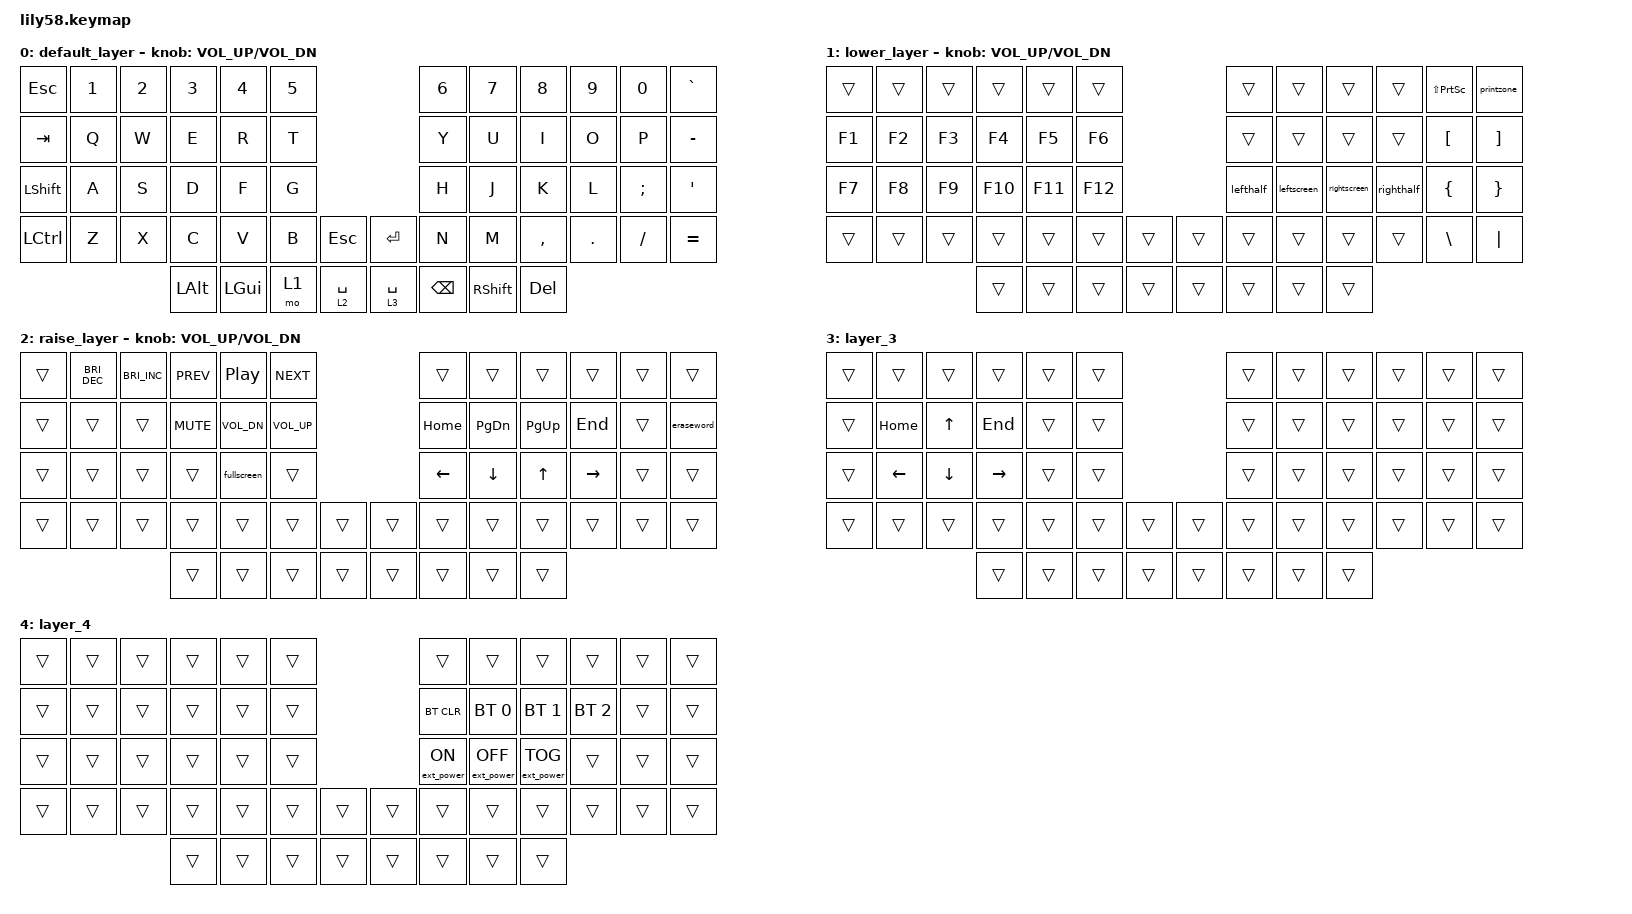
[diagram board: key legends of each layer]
/*
 * Copyright (c) 2020 The ZMK Contributors
 *
 * SPDX-License-Identifier: MIT
 */

#include <behaviors.dtsi>
#include <dt-bindings/zmk/bt.h>
#include <dt-bindings/zmk/ext_power.h>
#include <dt-bindings/zmk/keys.h>

/ {
    combos { compatible = "zmk,combos"; };

    macros {
        fullscreen: fullscreen {
            compatible = "zmk,behavior-macro";
            #binding-cells = <0>;
            bindings =
                <&macro_press>,
                <&kp LGUI &kp LALT>,
                <&macro_tap>,
                <&kp F>,
                <&macro_release>,
                <&kp LGUI &kp LALT>;

            label = "FULLSCREEN";
        };

        lefthalf: lefthalf {
            compatible = "zmk,behavior-macro";
            #binding-cells = <0>;
            bindings =
                <&macro_press>,
                <&kp LGUI &kp LALT>,
                <&macro_tap>,
                <&kp LEFT_ARROW>,
                <&macro_release>,
                <&kp LGUI &kp LALT>;

            label = "LEFTHALF";
        };

        righthalf: righthalf {
            compatible = "zmk,behavior-macro";
            #binding-cells = <0>;
            bindings =
                <&macro_press>,
                <&kp LGUI &kp LALT>,
                <&macro_tap>,
                <&kp RIGHT>,
                <&macro_release>,
                <&kp LGUI &kp LALT>;

            label = "RIGHTHALF";
        };

        leftscreen: leftscreen {
            compatible = "zmk,behavior-macro";
            #binding-cells = <0>;
            bindings =
                <&macro_press>,
                <&kp LGUI &kp LALT &kp LCTRL>,
                <&macro_tap>,
                <&kp LEFT_ARROW>,
                <&macro_release>,
                <&kp LGUI &kp LALT &kp LCTRL>;

            label = "LEFTSCREEN";
        };

        rightscreen: rightscreen {
            compatible = "zmk,behavior-macro";
            #binding-cells = <0>;
            bindings =
                <&macro_press>,
                <&kp LGUI &kp LALT &kp LCTRL>,
                <&macro_tap>,
                <&kp RIGHT>,
                <&macro_release>,
                <&kp LGUI &kp LALT &kp LCTRL>;

            label = "RIGHTSCREEN";
        };

        printzone: printzone {
            compatible = "zmk,behavior-macro";
            #binding-cells = <0>;
            bindings =
                <&macro_press>,
                <&kp LGUI &kp LSHIFT>,
                <&macro_tap>,
                <&kp N4>,
                <&macro_release>,
                <&kp LGUI &kp LSHIFT>;

            label = "PRINTZONE";
        };

        eraseword: eraseword {
            compatible = "zmk,behavior-macro";
            #binding-cells = <0>;
            bindings =
                <&macro_press>,
                <&kp LCTRL>,
                <&macro_tap>,
                <&kp BACKSPACE>,
                <&macro_release>,
                <&kp LCTRL>;
        };

        // à è ù (dead grave = `)

        a_grave: a_grave {
            compatible = "zmk,behavior-macro";
            #binding-cells = <0>;
            bindings = <&kp GRAVE &kp A>;
        };

        e_grave: e_grave {
            compatible = "zmk,behavior-macro";
            #binding-cells = <0>;
            bindings = <&kp GRAVE &kp E>;
        };

        u_grave: u_grave {
            compatible = "zmk,behavior-macro";
            #binding-cells = <0>;
            bindings = <&kp GRAVE &kp U>;
        };

        // é (dead acute = Shift+')

        e_acute: e_acute {
            compatible = "zmk,behavior-macro";
            #binding-cells = <0>;
            bindings = <&kp APOS &kp E>;
        };

        // â ê î ô û (dead circumflex = Shift+6)

        a_circ: a_circ {
            compatible = "zmk,behavior-macro";
            #binding-cells = <0>;
            bindings = <&kp LS(N6) &kp A>;
        };

        e_circ: e_circ {
            compatible = "zmk,behavior-macro";
            #binding-cells = <0>;
            bindings = <&kp LS(N6) &kp E>;
        };

        i_circ: i_circ {
            compatible = "zmk,behavior-macro";
            #binding-cells = <0>;
            bindings = <&kp LS(N6) &kp I>;
        };

        o_circ: o_circ {
            compatible = "zmk,behavior-macro";
            #binding-cells = <0>;
            bindings = <&kp LS(N6) &kp O>;
        };

        u_circ: u_circ {
            compatible = "zmk,behavior-macro";
            #binding-cells = <0>;
            bindings = <&kp LS(N6) &kp U>;
        };

        // ë ï ü ÿ (dead diaeresis = Shift+')  ← attention même dead key que acute sur certains layouts

        e_uml: e_uml {
            compatible = "zmk,behavior-macro";
            #binding-cells = <0>;
            bindings = <&kp LS(APOS) &kp E>;
        };

        i_uml: i_uml {
            compatible = "zmk,behavior-macro";
            #binding-cells = <0>;
            bindings = <&kp LS(APOS) &kp I>;
        };

        u_uml: u_uml {
            compatible = "zmk,behavior-macro";
            #binding-cells = <0>;
            bindings = <&kp LS(APOS) &kp U>;
        };

        // ç (direct en US Intl = Alt+,)

        c_ced: c_ced {
            compatible = "zmk,behavior-macro";
            #binding-cells = <0>;
            bindings = <&kp APOS &kp C>;
        };
    };

    keymap {
        compatible = "zmk,keymap";

        default_layer {
            // ------------------------------------------------------------------------------------------------------------
            // |  ESC  |  1  |  2  |  3   |  4   |  5   |                    |  6   |  7    |  8    |  9   |   0   |   `   |
            // |  TAB  |  Q  |  W  |  E   |  R   |  T   |                    |  Y   |  U    |  I    |  O   |   P   |   -   |
            // | SHIFT |  A  |  S  |  D   |  F   |  G   |                    |  H   |  J    |  K    |  L   |   ;   |   '   |
            // |  CTRL |  Z  |  X  |  C   |  V   |  B   |   "["  |  | ENTER  |  N   |  M    |  ,    |  .   |   /   |   =   |
            //                     | ALT  | GUI  | LOWER|TAB/RAIS|  | SPC/L3 | BSPC | RSHIFT|  DEL  |

            bindings = <
&kp ESC           &kp N1  &kp N2  &kp N3    &kp N4    &kp N5                              &kp N6    &kp N7      &kp N8      &kp N9   &kp N0    &kp GRAVE
&kp TAB           &kp Q   &kp W   &kp E     &kp R     &kp T                               &kp Y     &kp U       &kp I       &kp O    &kp P     &kp MINUS
&kp LEFT_SHIFT    &kp A   &kp S   &kp D     &kp F     &kp G                               &kp H     &kp J       &kp K       &kp L    &kp SEMI  &kp SQT
&kp LEFT_CONTROL  &kp Z   &kp X   &kp C     &kp V     &kp B   &kp ESC        &kp ENTER    &kp N     &kp M       &kp COMMA   &kp DOT  &kp FSLH  &kp EQUAL
                                  &kp LALT  &kp LGUI  &mo 1   &lt 2 SPACE    &lt 3 SPACE  &kp BSPC  &kp RSHIFT  &kp DELETE
            >;

            sensor-bindings = <&inc_dec_kp C_VOL_UP C_VOL_DN>;
        };

        lower_layer {
            // ------------------------------------------------------------------------------------------------------------
            // |       |     |     |      |      |      |                   |      |       |       |      | S+PSCN| PSCRN |
            // |  F1   |  F2 |  F3 |  F4  |  F5  |  F6  |                   |      |       |       |      |       | BSPC  |
            // |  F7   |  F8 |  F9 |  F10 |  F11 |  F12 |                   |LHALF |LSCRN  |RSCRN  |RHALF |       |       |
            // |       |     |     |      |      |      |        |  |       |      |  -    |  +    |  {   |   }   |  "|"  |
            //                     |      |      |      |        |  |       |      |       |       |

            bindings = <
&trans  &trans  &trans  &trans   &trans   &trans                     &trans     &trans       &trans        &trans      &kp LS(PRINTSCREEN)  &printzone
&kp F1  &kp F2  &kp F3  &kp F4   &kp F5   &kp F6                     &trans     &trans       &trans        &trans      &kp LEFT_BRACKET     &kp RIGHT_BRACKET
&kp F7  &kp F8  &kp F9  &kp F10  &kp F11  &kp F12                    &lefthalf  &leftscreen  &rightscreen  &righthalf  &kp LEFT_BRACE       &kp RIGHT_BRACE
&trans  &trans  &trans  &trans   &trans   &trans   &trans    &trans  &trans     &trans       &trans        &trans      &kp BSLH             &kp PIPE
                        &trans   &trans   &trans   &trans    &trans  &trans     &trans       &trans
            >;

            sensor-bindings = <&inc_dec_kp C_VOL_UP C_VOL_DN>;
        };

        raise_layer {
            // ------------------------------------------------------------------------------------------------------------
            // |       |BRI- |BRI+ | PREV | PLAY | NEXT |                   |      |       |       |      |       |       |
            // |       |     |     | MUTE | VOL- | VOL+ |                   | HOME | PGDN  | PGUP  | END  |       | ERASEW|
            // | SHIFT |     |     |      | FSCRN|      |                   |  <-  |   v   |   ^   |  ->  |       |       |
            // |       |     |     |      |      |      |        |  |       |      |       |       |  [   |   ]   |   \   |
            //                     |      |      |      |        |  |       |      |       |       |

            bindings = <
&trans  &kp C_BRI_DEC  &kp C_BRIGHTNESS_INC  &kp C_PREV  &kp C_PLAY_PAUSE  &kp C_NEXT                      &trans          &trans          &trans        &trans     &trans  &trans
&trans  &trans         &trans                &kp K_MUTE  &kp C_VOL_DN      &kp C_VOL_UP                    &kp HOME        &kp PAGE_DOWN   &kp PAGE_UP   &kp END    &trans  &eraseword
&trans  &trans         &trans                &trans      &fullscreen       &trans                          &kp LEFT_ARROW  &kp DOWN_ARROW  &kp UP_ARROW  &kp RIGHT  &trans  &trans
&trans  &trans         &trans                &trans      &trans            &trans        &trans    &trans  &trans          &trans          &trans        &trans     &trans  &trans
                                             &trans      &trans            &trans        &trans    &trans  &trans          &trans          &trans
            >;

            sensor-bindings = <&inc_dec_kp C_VOL_UP C_VOL_DN>;
        };

        layer_3 {
            // ------------------------------------------------------------------------------------------------------------
            // |       |     |     |      |      |      |                   |      |       |       |      |       |       |
            // |       |     |     |  é   |      |      |                   |      |  ù    |  î    |  ô   |       |       |
            // |       |  à  |     |      |      |      |                   |      |  ü    |  ï    |  ë   |       |       |
            // |       |     |     |  ç   |  â   |  ê   |        |  |       |  û   |  è    |       |      |       |       |
            //                     |      |      |      |        |  |       |      |       |       |

            bindings = <
&trans  &trans    &trans          &trans           &trans  &trans                    &trans  &trans  &trans  &trans  &trans  &trans
&trans  &kp HOME  &kp UP_ARROW    &kp END          &trans  &trans                    &trans  &trans  &trans  &trans  &trans  &trans
&trans  &kp LEFT  &kp DOWN_ARROW  &kp RIGHT_ARROW  &trans  &trans                    &trans  &trans  &trans  &trans  &trans  &trans
&trans  &trans    &trans          &trans           &trans  &trans  &trans    &trans  &trans  &trans  &trans  &trans  &trans  &trans
                                  &trans           &trans  &trans  &trans    &trans  &trans  &trans  &trans
            >;
        };

        layer_4 {
            // ------------------------------------------------------------------------------------------------------------
            // |       |     |     |      |      |      |                   |      |       |       |      |       |       |
            // |       |     |     |      |      |      |                   | BTCLR| BT0   | BT1   | BT2  |       |       |
            // |       |     |     |      |      |      |                   | EP_ON|EP_OFF |EP_TOG |      |       |       |
            // |       |     |     |      |      |      |        |  |       |      |       |       |      |       |       |
            //                     |      |      |      |        |  |       |      |       |       |

            bindings = <
&trans  &trans  &trans  &trans  &trans  &trans                    &trans            &trans             &trans             &trans        &trans  &trans
&trans  &trans  &trans  &trans  &trans  &trans                    &bt BT_CLR        &bt BT_SEL 0       &bt BT_SEL 1       &bt BT_SEL 2  &trans  &trans
&trans  &trans  &trans  &trans  &trans  &trans                    &ext_power EP_ON  &ext_power EP_OFF  &ext_power EP_TOG  &trans        &trans  &trans
&trans  &trans  &trans  &trans  &trans  &trans  &trans    &trans  &trans            &trans             &trans             &trans        &trans  &trans
                        &trans  &trans  &trans  &trans    &trans  &trans            &trans             &trans
            >;
        };
    };
};
